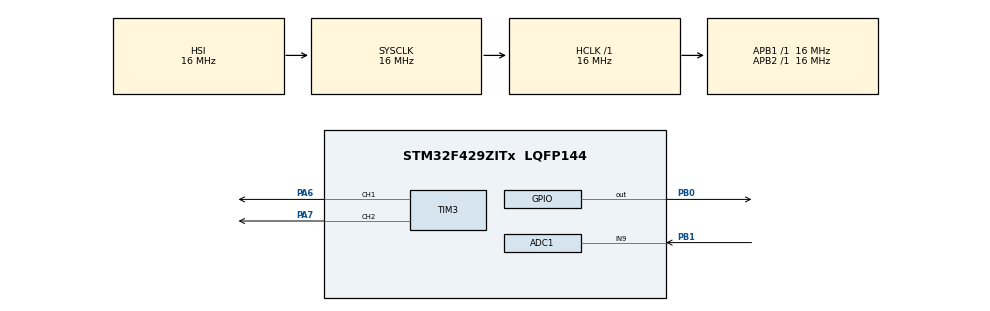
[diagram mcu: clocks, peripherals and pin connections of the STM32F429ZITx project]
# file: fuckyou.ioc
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ADC1.Channel-0\#ChannelRegularConversion=ADC_CHANNEL_9
ADC1.ClockPrescaler=ADC_CLOCK_SYNC_PCLK_DIV4
ADC1.ContinuousConvMode=ENABLE
ADC1.NbrOfConversionFlag=1
ADC1.Rank-0\#ChannelRegularConversion=1
ADC1.SamplingTime-0\#ChannelRegularConversion=ADC_SAMPLETIME_480CYCLES
ADC1.master=1
Mcu.Family=STM32F4
Mcu.Name=STM32F429ZITx
Mcu.Package=LQFP144
NVIC.PriorityGroup=NVIC_PRIORITYGROUP_4
NVIC.TIM3_IRQn=true\:0\:0\:false\:false\:true\:true\:true\:true
PA6.Signal=S_TIM3_CH1
PA7.Signal=S_TIM3_CH2
PB0.Signal=GPIO_Output
PB1.Signal=ADCx_IN9
ProjectManager.HeapSize=0x200
ProjectManager.StackSize=0x400
ProjectManager.TargetToolchain=STM32CubeIDE
RCC.AHBFreq_Value=16000000
RCC.APB1Freq_Value=16000000
RCC.APB2Freq_Value=16000000
RCC.CortexFreq_Value=16000000
RCC.HSE_VALUE=25000000
RCC.HSI_VALUE=16000000
RCC.LSE_VALUE=32768
RCC.SYSCLKFreq_VALUE=16000000
RCC.VCOOutputFreq_Value=192000000
SH.ADCx_IN9.0=ADC1_IN9,IN9
SH.S_TIM3_CH1.0=TIM3_CH1,PWM Generation1 CH1
SH.S_TIM3_CH2.0=TIM3_CH2,PWM Generation2 CH2
TIM2.Channel-Output\ Compare1\ No\ Output=TIM_CHANNEL_1
TIM2.Period=2000
TIM2.Prescaler=100
TIM2.TIM_MasterOutputTrigger=TIM_TRGO_OC1
TIM3.Channel-PWM\ Generation1\ CH1=TIM_CHANNEL_1
TIM3.Channel-PWM\ Generation2\ CH2=TIM_CHANNEL_2
VP_TIM2_VS_no_output1.Mode=Output Compare1 No Output
VP_TIM3_VS_ClockSourceINT.Mode=Internal
board=custom

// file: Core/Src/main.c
/* USER CODE BEGIN Header */
/**
  ******************************************************************************
  * @file           : main.c
  * @brief          : Main program body
  ******************************************************************************
  * @attention
  *
  * Copyright (c) 2023 STMicroelectronics.
  * All rights reserved.
  *
  * This software is licensed under terms that can be found in the LICENSE file
  * in the root directory of this software component.
  * If no LICENSE file comes with this software, it is provided AS-IS.
  *
  ******************************************************************************
  */
/* USER CODE END Header */
#include "main.h"

ADC_HandleTypeDef hadc1;

TIM_HandleTypeDef htim2;
TIM_HandleTypeDef htim3;

/* USER CODE BEGIN PV */
int flag_SW1 = 0, flag_SW2 = 0, flag_SW3 = 0, flag_SW4 = 0;
uint16_t led = 0x01;
int flag = 0;
int speed = 500;
/* USER CODE END PV */

void SystemClock_Config(void);
static void MX_GPIO_Init(void);
static void MX_TIM2_Init(void);
static void MX_TIM3_Init(void);
static void MX_ADC1_Init(void);
/* USER CODE BEGIN PFP */
void LED_OnOff(int, int);
/* USER CODE END PFP */

int main(void)
{

  /* MCU Configuration--------------------------------------------------------*/

  /* Reset of all peripherals, Initializes the Flash interface and the Systick. */
  HAL_Init();

  /* Configure the system clock */
  SystemClock_Config();

  /* Initialize all configured peripherals */
  MX_GPIO_Init();
  MX_TIM2_Init();
  MX_TIM3_Init();
  MX_ADC1_Init();
  /* USER CODE BEGIN 2 */
  LED_OnOff(0x0001, 500);
  HAL_TIM_Base_Start_IT(&htim3);
  HAL_TIM_PWM_Start_IT(&htim3, TIM_CHANNEL_1);
  HAL_TIM_PWM_Start_IT(&htim3, TIM_CHANNEL_2);

  /* USER CODE END 2 */

  /* Infinite loop */
  while (1)
  {

  }
}

void SystemClock_Config(void)
{
  RCC_OscInitTypeDef RCC_OscInitStruct = {0};
  RCC_ClkInitTypeDef RCC_ClkInitStruct = {0};

  /** Configure the main internal regulator output voltage
  */
  __HAL_RCC_PWR_CLK_ENABLE();
  __HAL_PWR_VOLTAGESCALING_CONFIG(PWR_REGULATOR_VOLTAGE_SCALE3);

  /** Initializes the RCC Oscillators according to the specified parameters
  * in the RCC_OscInitTypeDef structure.
  */
  RCC_OscInitStruct.OscillatorType = RCC_OSCILLATORTYPE_HSI;
  RCC_OscInitStruct.HSIState = RCC_HSI_ON;
  RCC_OscInitStruct.HSICalibrationValue = RCC_HSICALIBRATION_DEFAULT;
  RCC_OscInitStruct.PLL.PLLState = RCC_PLL_NONE;
  if (HAL_RCC_OscConfig(&RCC_OscInitStruct) != HAL_OK)
  {
    Error_Handler();
  }

  /** Initializes the CPU, AHB and APB buses clocks
  */
  RCC_ClkInitStruct.ClockType = RCC_CLOCKTYPE_HCLK|RCC_CLOCKTYPE_SYSCLK
                              |RCC_CLOCKTYPE_PCLK1|RCC_CLOCKTYPE_PCLK2;
  RCC_ClkInitStruct.SYSCLKSource = RCC_SYSCLKSOURCE_HSI;
  RCC_ClkInitStruct.AHBCLKDivider = RCC_SYSCLK_DIV1;
  RCC_ClkInitStruct.APB1CLKDivider = RCC_HCLK_DIV1;
  RCC_ClkInitStruct.APB2CLKDivider = RCC_HCLK_DIV1;

  if (HAL_RCC_ClockConfig(&RCC_ClkInitStruct, FLASH_LATENCY_0) != HAL_OK)
  {
    Error_Handler();
  }
}

static void MX_ADC1_Init(void)
{

  ADC_ChannelConfTypeDef sConfig = {0};

  /** Configure the global features of the ADC (Clock, Resolution, Data Alignment and number of conversion)
  */
  hadc1.Instance = ADC1;
  hadc1.Init.ClockPrescaler = ADC_CLOCK_SYNC_PCLK_DIV4;
  hadc1.Init.Resolution = ADC_RESOLUTION_12B;
  hadc1.Init.ScanConvMode = DISABLE;
  hadc1.Init.ContinuousConvMode = ENABLE;
  hadc1.Init.DiscontinuousConvMode = DISABLE;
  hadc1.Init.ExternalTrigConvEdge = ADC_EXTERNALTRIGCONVEDGE_NONE;
  hadc1.Init.ExternalTrigConv = ADC_SOFTWARE_START;
  hadc1.Init.DataAlign = ADC_DATAALIGN_RIGHT;
  hadc1.Init.NbrOfConversion = 1;
  hadc1.Init.DMAContinuousRequests = DISABLE;
  hadc1.Init.EOCSelection = ADC_EOC_SINGLE_CONV;
  if (HAL_ADC_Init(&hadc1) != HAL_OK)
  {
    Error_Handler();
  }

  /** Configure for the selected ADC regular channel its corresponding rank in the sequencer and its sample time.
  */
  sConfig.Channel = ADC_CHANNEL_9;
  sConfig.Rank = 1;
  sConfig.SamplingTime = ADC_SAMPLETIME_480CYCLES;
  if (HAL_ADC_ConfigChannel(&hadc1, &sConfig) != HAL_OK)
  {
    Error_Handler();
  }

}

static void MX_TIM2_Init(void)
{

  TIM_MasterConfigTypeDef sMasterConfig = {0};
  TIM_OC_InitTypeDef sConfigOC = {0};

  htim2.Instance = TIM2;
  htim2.Init.Prescaler = 100;
  htim2.Init.CounterMode = TIM_COUNTERMODE_UP;
  htim2.Init.Period = 2000;
  htim2.Init.ClockDivision = TIM_CLOCKDIVISION_DIV1;
  htim2.Init.AutoReloadPreload = TIM_AUTORELOAD_PRELOAD_DISABLE;
  if (HAL_TIM_OC_Init(&htim2) != HAL_OK)
  {
    Error_Handler();
  }
  sMasterConfig.MasterOutputTrigger = TIM_TRGO_OC1;
  sMasterConfig.MasterSlaveMode = TIM_MASTERSLAVEMODE_DISABLE;
  if (HAL_TIMEx_MasterConfigSynchronization(&htim2, &sMasterConfig) != HAL_OK)
  {
    Error_Handler();
  }
  sConfigOC.OCMode = TIM_OCMODE_TIMING;
  sConfigOC.Pulse = 0;
  sConfigOC.OCPolarity = TIM_OCPOLARITY_HIGH;
  sConfigOC.OCFastMode = TIM_OCFAST_DISABLE;
  if (HAL_TIM_OC_ConfigChannel(&htim2, &sConfigOC, TIM_CHANNEL_1) != HAL_OK)
  {
    Error_Handler();
  }

}

static void MX_TIM3_Init(void)
{

  TIM_ClockConfigTypeDef sClockSourceConfig = {0};
  TIM_MasterConfigTypeDef sMasterConfig = {0};
  TIM_OC_InitTypeDef sConfigOC = {0};

  htim3.Instance = TIM3;
  htim3.Init.Prescaler = 0;
  htim3.Init.CounterMode = TIM_COUNTERMODE_UP;
  htim3.Init.Period = 65535;
  htim3.Init.ClockDivision = TIM_CLOCKDIVISION_DIV1;
  htim3.Init.AutoReloadPreload = TIM_AUTORELOAD_PRELOAD_DISABLE;
  if (HAL_TIM_Base_Init(&htim3) != HAL_OK)
  {
    Error_Handler();
  }
  sClockSourceConfig.ClockSource = TIM_CLOCKSOURCE_INTERNAL;
  if (HAL_TIM_ConfigClockSource(&htim3, &sClockSourceConfig) != HAL_OK)
  {
    Error_Handler();
  }
  if (HAL_TIM_PWM_Init(&htim3) != HAL_OK)
  {
    Error_Handler();
  }
  sMasterConfig.MasterOutputTrigger = TIM_TRGO_RESET;
  sMasterConfig.MasterSlaveMode = TIM_MASTERSLAVEMODE_DISABLE;
  if (HAL_TIMEx_MasterConfigSynchronization(&htim3, &sMasterConfig) != HAL_OK)
  {
    Error_Handler();
  }
  sConfigOC.OCMode = TIM_OCMODE_PWM1;
  sConfigOC.Pulse = 0;
  sConfigOC.OCPolarity = TIM_OCPOLARITY_HIGH;
  sConfigOC.OCFastMode = TIM_OCFAST_DISABLE;
  if (HAL_TIM_PWM_ConfigChannel(&htim3, &sConfigOC, TIM_CHANNEL_1) != HAL_OK)
  {
    Error_Handler();
  }
  if (HAL_TIM_PWM_ConfigChannel(&htim3, &sConfigOC, TIM_CHANNEL_2) != HAL_OK)
  {
    Error_Handler();
  }
  HAL_TIM_MspPostInit(&htim3);

}

static void MX_GPIO_Init(void)
{
  GPIO_InitTypeDef GPIO_InitStruct = {0};

  /* GPIO Ports Clock Enable */
  __HAL_RCC_GPIOA_CLK_ENABLE();
  __HAL_RCC_GPIOB_CLK_ENABLE();

  /*Configure GPIO pin Output Level */
  HAL_GPIO_WritePin(GPIOB, GPIO_PIN_0, GPIO_PIN_RESET);

  /*Configure GPIO pin : PB0 */
  GPIO_InitStruct.Pin = GPIO_PIN_0;
  GPIO_InitStruct.Mode = GPIO_MODE_OUTPUT_PP;
  GPIO_InitStruct.Pull = GPIO_NOPULL;
  GPIO_InitStruct.Speed = GPIO_SPEED_FREQ_LOW;
  HAL_GPIO_Init(GPIOB, &GPIO_InitStruct);

}

/* USER CODE BEGIN 4 */
void LED_OnOff(int led, int interval)
{

HAL_GPIO_WritePin(GPIOB, 0x0001, GPIO_PIN_SET );
HAL_GPIO_WritePin(GPIOB, 0x0001, GPIO_PIN_SET );
HAL_Delay(interval);
HAL_GPIO_WritePin(GPIOB, 0x0001, GPIO_PIN_RESET );
HAL_GPIO_WritePin(GPIOB, 0x0001, GPIO_PIN_RESET );
}
void HAL_TIM_PeriodElapsedCallback(TIM_HandleTypeDef *htim) //?  반모?   Callback
{
	if ( htim->Instance == TIM3) {
		HAL_GPIO_TogglePin(GPIOB,0x0001);
		HAL_GPIO_TogglePin(GPIOA,0x0040);
	}
}

void HAL_TIM_OC_DelayElapsedCallback(TIM_HandleTypeDef *htim)	//OC모드 Callback
{
	if ( htim->Instance == TIM3) {
	if(htim->Channel == HAL_TIM_ACTIVE_CHANNEL_1) {
	HAL_GPIO_TogglePin(GPIOB,0x0001);
	HAL_GPIO_TogglePin(GPIOA,0x0040);
	}
	if(htim->Channel == HAL_TIM_ACTIVE_CHANNEL_2) {
	HAL_GPIO_TogglePin(GPIOB,0x0001);
	HAL_GPIO_TogglePin(GPIOA,0x0040);
	}
	}

}

void HAL_GPIO_EXTI_Callback(uint16_t GPIO_PIN)
{

}

/* USER CODE END 4 */

void Error_Handler(void)
{
  __disable_irq();
  while (1)
  {
  }
}
